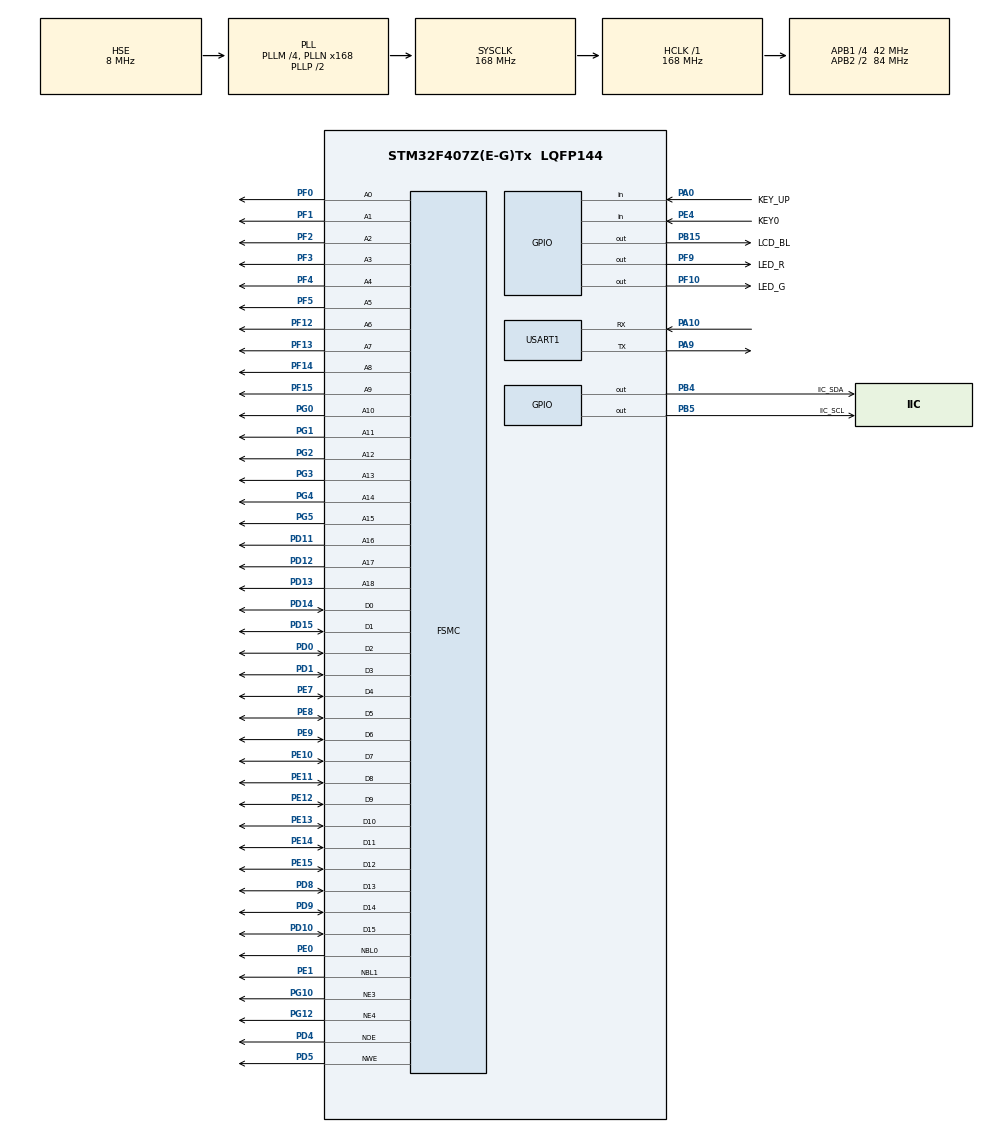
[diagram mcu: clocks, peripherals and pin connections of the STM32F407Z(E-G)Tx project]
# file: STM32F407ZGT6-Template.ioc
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FSMC.AddressSetupTime3=0
FSMC.AddressSetupTime4=2
FSMC.BusTurnAroundDuration3=0
FSMC.BusTurnAroundDuration4=0
FSMC.DataSetupTime3=8
FSMC.DataSetupTime4=16
FSMC.ExtendedAddressSetupTime4=4
FSMC.ExtendedBusTurnAroundDuration4=0
FSMC.ExtendedDataSetupTime4=9
FSMC.ExtendedMode4=FSMC_EXTENDED_MODE_ENABLE
FSMC.WriteOperation3=FSMC_WRITE_OPERATION_ENABLE
Mcu.Family=STM32F4
Mcu.Name=STM32F407Z(E-G)Tx
Mcu.Package=LQFP144
NVIC.PriorityGroup=NVIC_PRIORITYGROUP_4
NVIC.TIM7_IRQn=true\:0\:0\:false\:false\:true\:true\:true\:true
NVIC.USART1_IRQn=true\:0\:0\:false\:false\:true\:true\:true\:true
PA0-WKUP.GPIO_Label=KEY_UP
PA0-WKUP.GPIO_PuPd=GPIO_PULLDOWN
PA0-WKUP.Signal=GPIO_Input
PA10.Mode=Asynchronous
PA10.Signal=USART1_RX
PA13.Mode=Serial_Wire
PA13.Signal=SYS_JTMS-SWDIO
PA14.Mode=Serial_Wire
PA14.Signal=SYS_JTCK-SWCLK
PA9.Mode=Asynchronous
PA9.Signal=USART1_TX
PB15.GPIO_Label=LCD_BL
PB15.Signal=GPIO_Output
PB4.GPIO_Label=IIC_SDA
PB4.GPIO_ModeDefaultOutputPP=GPIO_MODE_OUTPUT_OD
PB4.GPIO_PuPd=GPIO_PULLUP
PB4.GPIO_Speed=GPIO_SPEED_FREQ_VERY_HIGH
PB4.PinState=GPIO_PIN_SET
PB4.Signal=GPIO_Output
PB5.GPIO_Label=IIC_SCL
PB5.GPIO_ModeDefaultOutputPP=GPIO_MODE_OUTPUT_PP
PB5.GPIO_PuPd=GPIO_PULLUP
PB5.GPIO_Speed=GPIO_SPEED_FREQ_VERY_HIGH
PB5.PinState=GPIO_PIN_SET
PB5.Signal=GPIO_Output
PD0.Signal=FSMC_D2_DA2
PD1.Signal=FSMC_D3_DA3
PD10.Signal=FSMC_D15_DA15
PD11.Signal=FSMC_A16_CLE
PD12.Signal=FSMC_A17_ALE
PD13.Signal=FSMC_A18
PD14.Signal=FSMC_D0_DA0
PD15.Signal=FSMC_D1_DA1
PD4.Signal=FSMC_NOE
PD5.Signal=FSMC_NWE
PD8.Signal=FSMC_D13_DA13
PD9.Signal=FSMC_D14_DA14
PE0.Signal=FSMC_NBL0
PE1.Signal=FSMC_NBL1
PE10.Signal=FSMC_D7_DA7
PE11.Signal=FSMC_D8_DA8
PE12.Signal=FSMC_D9_DA9
PE13.Signal=FSMC_D10_DA10
PE14.Signal=FSMC_D11_DA11
PE15.Signal=FSMC_D12_DA12
PE4.GPIO_Label=KEY0
PE4.GPIO_PuPd=GPIO_PULLDOWN
PE4.Signal=GPIO_Input
PE7.Signal=FSMC_D4_DA4
PE8.Signal=FSMC_D5_DA5
PE9.Signal=FSMC_D6_DA6
PF0.Signal=FSMC_A0
PF1.Signal=FSMC_A1
PF10.GPIO_Label=LED_G
PF10.GPIO_PuPd=GPIO_PULLUP
PF10.PinState=GPIO_PIN_SET
PF10.Signal=GPIO_Output
PF12.Signal=FSMC_A6
PF13.Signal=FSMC_A7
PF14.Signal=FSMC_A8
PF15.Signal=FSMC_A9
PF2.Signal=FSMC_A2
PF3.Signal=FSMC_A3
PF4.Signal=FSMC_A4
PF5.Signal=FSMC_A5
PF9.GPIO_Label=LED_R
PF9.GPIO_PuPd=GPIO_PULLUP
PF9.PinState=GPIO_PIN_SET
PF9.Signal=GPIO_Output
PG0.Signal=FSMC_A10
PG1.Signal=FSMC_A11
PG10.Mode=NorPsramChipSelect3_3
PG10.Signal=FSMC_NE3
PG12.Mode=NorPsramChipSelect4_4
PG12.Signal=FSMC_NE4
PG2.Signal=FSMC_A12
PG3.Signal=FSMC_A13
PG4.Signal=FSMC_A14
PG5.Signal=FSMC_A15
PH0-OSC_IN.Mode=HSE-External-Oscillator
PH0-OSC_IN.Signal=RCC_OSC_IN
PH1-OSC_OUT.Mode=HSE-External-Oscillator
PH1-OSC_OUT.Signal=RCC_OSC_OUT
ProjectManager.HeapSize=0x200
ProjectManager.StackSize=0x400
ProjectManager.TargetToolchain=MDK-ARM V5.27
RCC.48MHZClocksFreq_Value=48000000
RCC.AHBFreq_Value=168000000
RCC.APB1CLKDivider=RCC_HCLK_DIV4
RCC.APB1Freq_Value=42000000
RCC.APB1TimFreq_Value=84000000
RCC.APB2CLKDivider=RCC_HCLK_DIV2
RCC.APB2Freq_Value=84000000
RCC.APB2TimFreq_Value=168000000
RCC.CortexFreq_Value=168000000
RCC.FLatency=FLASH_LATENCY_5
RCC.HCLKFreq_Value=168000000
RCC.HSE_VALUE=8000000
RCC.HSI_VALUE=16000000
RCC.LSE_VALUE=32768
RCC.PLLM=4
RCC.PLLN=168
RCC.PLLQ=7
RCC.PLLSourceVirtual=RCC_PLLSOURCE_HSE
RCC.SYSCLKFreq_VALUE=168000000
RCC.SYSCLKSource=RCC_SYSCLKSOURCE_PLLCLK
RCC.VCOOutputFreq_Value=336000000
SH.FSMC_A0.0=FSMC_A0,19b-a3
SH.FSMC_A1.0=FSMC_A1,19b-a3
SH.FSMC_A10.0=FSMC_A10,19b-a3
SH.FSMC_A11.0=FSMC_A11,19b-a3
SH.FSMC_A12.0=FSMC_A12,19b-a3
SH.FSMC_A13.0=FSMC_A13,19b-a3
SH.FSMC_A14.0=FSMC_A14,19b-a3
SH.FSMC_A15.0=FSMC_A15,19b-a3
SH.FSMC_A16_CLE.0=FSMC_A16,19b-a3
SH.FSMC_A17_ALE.0=FSMC_A17,19b-a3
SH.FSMC_A18.0=FSMC_A18,19b-a3
SH.FSMC_A2.0=FSMC_A2,19b-a3
SH.FSMC_A3.0=FSMC_A3,19b-a3
SH.FSMC_A4.0=FSMC_A4,19b-a3
SH.FSMC_A5.0=FSMC_A5,19b-a3
SH.FSMC_A6.0=FSMC_A6,A6_4
SH.FSMC_A6.1=FSMC_A6,19b-a3
SH.FSMC_A7.0=FSMC_A7,19b-a3
SH.FSMC_A8.0=FSMC_A8,19b-a3
SH.FSMC_A9.0=FSMC_A9,19b-a3
SH.FSMC_D0_DA0.0=FSMC_D0,16b-d4
SH.FSMC_D0_DA0.1=FSMC_D0,16b-d3
SH.FSMC_D10_DA10.0=FSMC_D10,16b-d4
SH.FSMC_D10_DA10.1=FSMC_D10,16b-d3
SH.FSMC_D11_DA11.0=FSMC_D11,16b-d4
SH.FSMC_D11_DA11.1=FSMC_D11,16b-d3
SH.FSMC_D12_DA12.0=FSMC_D12,16b-d4
SH.FSMC_D12_DA12.1=FSMC_D12,16b-d3
SH.FSMC_D13_DA13.0=FSMC_D13,16b-d4
SH.FSMC_D13_DA13.1=FSMC_D13,16b-d3
SH.FSMC_D14_DA14.0=FSMC_D14,16b-d4
SH.FSMC_D14_DA14.1=FSMC_D14,16b-d3
SH.FSMC_D15_DA15.0=FSMC_D15,16b-d4
SH.FSMC_D15_DA15.1=FSMC_D15,16b-d3
SH.FSMC_D1_DA1.0=FSMC_D1,16b-d4
SH.FSMC_D1_DA1.1=FSMC_D1,16b-d3
SH.FSMC_D2_DA2.0=FSMC_D2,16b-d4
SH.FSMC_D2_DA2.1=FSMC_D2,16b-d3
SH.FSMC_D3_DA3.0=FSMC_D3,16b-d4
SH.FSMC_D3_DA3.1=FSMC_D3,16b-d3
SH.FSMC_D4_DA4.0=FSMC_D4,16b-d4
SH.FSMC_D4_DA4.1=FSMC_D4,16b-d3
SH.FSMC_D5_DA5.0=FSMC_D5,16b-d4
SH.FSMC_D5_DA5.1=FSMC_D5,16b-d3
SH.FSMC_D6_DA6.0=FSMC_D6,16b-d4
SH.FSMC_D6_DA6.1=FSMC_D6,16b-d3
SH.FSMC_D7_DA7.0=FSMC_D7,16b-d4
SH.FSMC_D7_DA7.1=FSMC_D7,16b-d3
SH.FSMC_D8_DA8.0=FSMC_D8,16b-d4
SH.FSMC_D8_DA8.1=FSMC_D8,16b-d3
SH.FSMC_D9_DA9.0=FSMC_D9,16b-d4
SH.FSMC_D9_DA9.1=FSMC_D9,16b-d3
SH.FSMC_NBL0.0=FSMC_NBL0,2ByteEnable3
SH.FSMC_NBL1.0=FSMC_NBL1,2ByteEnable3
SH.FSMC_NOE.0=FSMC_NOE,Lcd4
SH.FSMC_NOE.1=FSMC_NOE,Sram3
SH.FSMC_NWE.0=FSMC_NWE,Lcd4
SH.FSMC_NWE.1=FSMC_NWE,Sram3
TIM6.Period=10000
TIM6.Prescaler=84
TIM7.Period=10000-1
TIM7.Prescaler=8400-1
USART1.VirtualMode=VM_ASYNC
VP_RNG_VS_RNG.Mode=RNG_Activate
VP_TIM6_VS_ClockSourceINT.Mode=Enable_Timer
VP_TIM7_VS_ClockSourceINT.Mode=Enable_Timer
board=custom

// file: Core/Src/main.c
/* USER CODE BEGIN Header */
/**
  ******************************************************************************
  * @file           : main.c
  * @brief          : Main program body
  ******************************************************************************
  * @attention
  *
  * Copyright (c) 2023 STMicroelectronics.
  * All rights reserved.
  *
  * This software is licensed under terms that can be found in the LICENSE file
  * in the root directory of this software component.
  * If no LICENSE file comes with this software, it is provided AS-IS.
  *
  ******************************************************************************
  */
/* USER CODE END Header */
#include "main.h"
#include "rng.h"
#include "tim.h"
#include "usart.h"
#include "gpio.h"
#include "fsmc.h"

/* USER CODE BEGIN PV */
uint8_t idle_rec_buf[100];
/* USER CODE END PV */

void SystemClock_Config(void);

int main(void)
{

  /* MCU Configuration--------------------------------------------------------*/

  /* Reset of all peripherals, Initializes the Flash interface and the Systick. */
  HAL_Init();

  /* Configure the system clock */
  SystemClock_Config();

  /* Initialize all configured peripherals */
  MX_GPIO_Init();
  MX_USART1_UART_Init();
  MX_TIM7_Init();
  MX_RNG_Init();
  MX_FSMC_Init();
  MX_TIM6_Init();
  /* USER CODE BEGIN 2 */

	HAL_TIM_Base_Start_IT(&htim7);
	HAL_UARTEx_ReceiveToIdle_IT(&huart1, idle_rec_buf, 100);	/* 每次使用发生中断后不会自动恢复,要再次使用这个函数 */
	OLED_Init();

  /* USER CODE END 2 */

  /* Infinite loop */
  /* USER CODE BEGIN WHILE */
  while (1)
  {

		uint8_t key = Get_key_with_undo(20);
		if(key == key_up_down)
		{
		}
		if(key == key0_down)
		{
		}

		printf("将进入睡眠模式\r\n");
		HAL_Delay(2000);
		HAL_GPIO_WritePin(LED_G_GPIO_Port, LED_G_Pin, GPIO_PIN_SET);
		HAL_SuspendTick();	/* 挂起systick */
		HAL_PWR_EnterSLEEPMode(0, PWR_SLEEPENTRY_WFI);	/* 进入睡眠模式 */
    /* USER CODE END WHILE */

  }
}

void SystemClock_Config(void)
{
  RCC_OscInitTypeDef RCC_OscInitStruct = {0};
  RCC_ClkInitTypeDef RCC_ClkInitStruct = {0};

  /** Configure the main internal regulator output voltage
  */
  __HAL_RCC_PWR_CLK_ENABLE();
  __HAL_PWR_VOLTAGESCALING_CONFIG(PWR_REGULATOR_VOLTAGE_SCALE1);

  /** Initializes the RCC Oscillators according to the specified parameters
  * in the RCC_OscInitTypeDef structure.
  */
  RCC_OscInitStruct.OscillatorType = RCC_OSCILLATORTYPE_HSE;
  RCC_OscInitStruct.HSEState = RCC_HSE_ON;
  RCC_OscInitStruct.PLL.PLLState = RCC_PLL_ON;
  RCC_OscInitStruct.PLL.PLLSource = RCC_PLLSOURCE_HSE;
  RCC_OscInitStruct.PLL.PLLM = 4;
  RCC_OscInitStruct.PLL.PLLN = 168;
  RCC_OscInitStruct.PLL.PLLP = RCC_PLLP_DIV2;
  RCC_OscInitStruct.PLL.PLLQ = 7;
  if (HAL_RCC_OscConfig(&RCC_OscInitStruct) != HAL_OK)
  {
    Error_Handler();
  }

  /** Initializes the CPU, AHB and APB buses clocks
  */
  RCC_ClkInitStruct.ClockType = RCC_CLOCKTYPE_HCLK|RCC_CLOCKTYPE_SYSCLK
                              |RCC_CLOCKTYPE_PCLK1|RCC_CLOCKTYPE_PCLK2;
  RCC_ClkInitStruct.SYSCLKSource = RCC_SYSCLKSOURCE_PLLCLK;
  RCC_ClkInitStruct.AHBCLKDivider = RCC_SYSCLK_DIV1;
  RCC_ClkInitStruct.APB1CLKDivider = RCC_HCLK_DIV4;
  RCC_ClkInitStruct.APB2CLKDivider = RCC_HCLK_DIV2;

  if (HAL_RCC_ClockConfig(&RCC_ClkInitStruct, FLASH_LATENCY_5) != HAL_OK)
  {
    Error_Handler();
  }
}

/* USER CODE BEGIN 4 */

/* 定时器回调函数 */
void HAL_TIM_PeriodElapsedCallback(TIM_HandleTypeDef *htim)
{
	/* 定时一秒 */
	if(htim == &htim7)
	{
		HAL_ResumeTick(); 	/* 恢复systick定时器 */
		printf("定时器中断退出睡眠模式\r\n");
		HAL_GPIO_TogglePin(LED_G_GPIO_Port, LED_G_Pin);
	}
}

/* 串口IDLE中断函数 */
void HAL_UARTEx_RxEventCallback(UART_HandleTypeDef *huart, uint16_t Size)
{
	if(huart == &huart1)
	{
		idle_rec_buf[Size] = '\0';

		HAL_UART_Transmit(&huart1, idle_rec_buf, strlen((char*)idle_rec_buf), 0xff);

		HAL_UARTEx_ReceiveToIdle_IT(&huart1, idle_rec_buf, 100);	/* 再次打开串口IDLE中断接收函数 */

		HAL_ResumeTick(); 	/* 恢复systick定时器 */
		printf("串口中断退出睡眠模式\r\n");
		HAL_GPIO_WritePin(LED_G_GPIO_Port, LED_G_Pin, GPIO_PIN_RESET);

	}
}
/* USER CODE END 4 */

void Error_Handler(void)
{
  __disable_irq();
  while (1)
  {
  }
}
